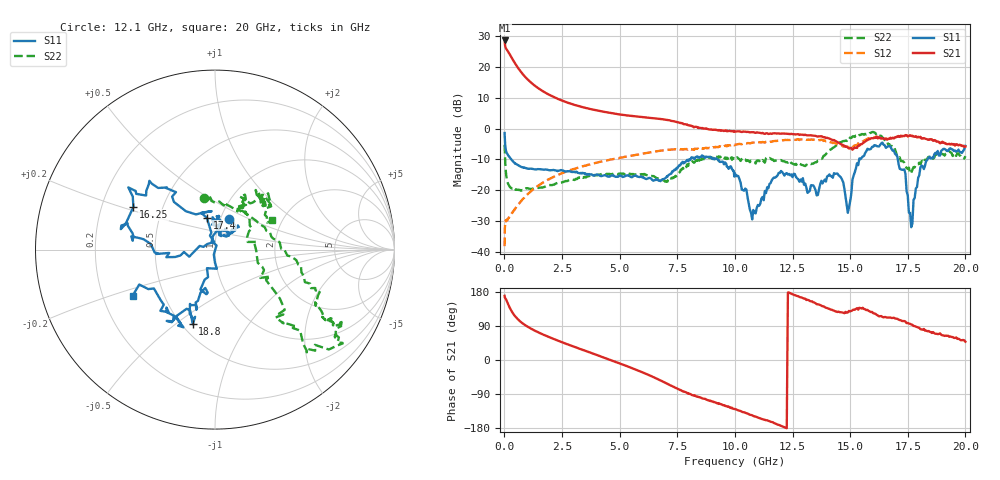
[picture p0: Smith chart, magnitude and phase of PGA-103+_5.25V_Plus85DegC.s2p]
!Mini-Circuits Laboratory
!S-Parameters, Port extension performed
!Model: PGA-103+
!Run / Lot / Date Code: N/A / BP170-001-01-101EV / 1210
!Fixture: TB-313
!Network Analyzer: PNA-X N5242A - 423 4 ports;  Serial number: 71013
!Date: 5/24/2012 at 5:35:59 PM
!S/N: Unit# 1
!Tested with: Vdd=5.25V at 85C
# Hz  S  dB  R  50
!Frequency  S11 dB  S11 Deg  S21 dB  S21 Deg  S12 dB  S12 Deg  S22 dB  S22 Deg
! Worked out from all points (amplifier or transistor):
!   660 points, 10 MHz to 20 GHz, reference 50 ohm
!   highest |S21| = 28.6 dB at 10 MHz (marker M1)
!   |S21| within 3 dB of that: start of sweep to 105.8 MHz
!   unconditionally stable (mu >= 1): 128.2 MHz to 134.3 MHz; 145.4 MHz to 15.22 GHz; 16.81 GHz to end of sweep
!   at 1.275 GHz: K = 1.12, MAG = 14.7 dB, |S12| = -19.5 dB
!   at 6.775 GHz: K = 1.06, MAG = 3.7 dB, |S12| = -7.1 dB
!   at 20 GHz: K = 1.48, MAG = -4.1 dB, |S12| = -5.9 dB
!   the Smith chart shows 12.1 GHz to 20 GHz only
!   S11 on the Smith chart (normalised r, x): 12.1 GHz: 1.10, +0.38; 16.25 GHz: 0.34, +0.22; 17.4 GHz: 0.86, +0.32; 18.8 GHz: 0.56, -0.58; 20 GHz: 0.33, -0.23
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1e7  -1.42 -20.0  28.61 169.2  -38.13 54.2  -5.22 -25.3
5e7  -6.24 -34.5  26.38 162.1  -30.44 29.5  -12.58 -43.8
7e7  -7.16 -35.6  26.01 160.3  -30.08 23.2  -14.45 -41.0
2e8  -9.02 -59.0  24.51 142.1  -28.86 29.0  -18.45 -29.1
3.3e8  -10.26 -81.3  22.83 127.2  -27.43 36.8  -19.39 -25.2
5.1e8  -11.48 -106.0  20.60 112.2  -25.50 44.9  -19.85 -20.4
7.5e8  -12.50 -129.2  18.11 98.6  -23.28 50.3  -19.96 -22.6
1.125e9  -12.99 -151.3  15.15 83.7  -20.50 52.3  -19.56 -27.7
1.7e9  -13.30 -171.8  12.00 66.6  -17.39 49.1  -19.01 -42.9
3.35e9  -14.52 155.7  7.02 27.7  -12.36 28.3  -16.15 -74.9
6.675e9  -16.78 69.7  3.20 -51.1  -7.27 -36.3  -16.17 -160.4
1.005e10  -15.45 -66.6  -0.93 -130.2  -5.16 -116.5  -9.52 80.9
1.08e10  -26.39 -25.4  -1.15 -147.7  -4.51 -135.6  -10.88 88.8
1.21e10  -14.61 65.6  -1.59 -176.3  -3.79 -166.3  -10.56 102.1
1.335e10  -18.37 59.5  -2.24 154.7  -3.58 162.9  -11.37 42.4
1.49e10  -27.32 116.6  -6.16 125.7  -5.95 137.0  -3.28 -30.0
1.625e10  -5.80 152.4  -2.85 115.2  -2.70 115.6  -2.43 -47.1
1.67e10  -5.52 133.6  -3.31 112.0  -3.30 111.9  -5.02 -47.1
1.74e10  -14.72 104.4  -2.10 101.4  -2.09 101.3  -12.07 -17.1
1.77e10  -30.82 -103.7  -2.31 92.8  -2.37 92.8  -13.34 28.4
1.88e10  -7.24 -106.6  -4.15 68.2  -4.17 68.6  -7.92 52.8
2e10  -5.58 -150.7  -5.80 48.3  -5.86 48.3  -8.93 27.0
